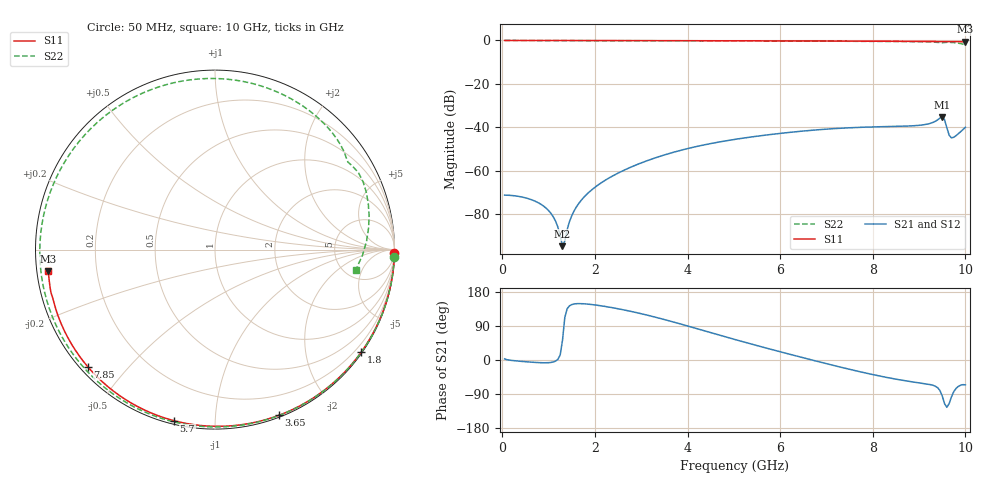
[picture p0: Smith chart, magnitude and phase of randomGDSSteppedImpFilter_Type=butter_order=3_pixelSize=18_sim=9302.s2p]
! freq	dB(S11)	phase(S11)	dB(S12)	phase(S12)
!  dB(S21)	phase(S21)	dB(S22)	phase(S22)
!S-par simulation data
#  GHz  S  DB  R 50
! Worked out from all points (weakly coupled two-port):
!   200 points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, 50 MHz to 10 GHz, reference 50 ohm
!   highest |S21| = -35.19 dB at 9.5 GHz (marker M1); lowest = -94.7 dB at 1.3 GHz (marker M2)
!   lowest |S11| = -0.6 dB at 10 GHz (marker M3), VSWR 30.13, Z = 1.67 - j3.23 ohm
!   |S11| at or under -10 dB: nowhere
!   |S22| runs from -2.0 to 0.0 dB; largest |S21 - S12| = 0
!   S11 on the Smith chart (normalised r, x): 50 MHz: open; 1.8 GHz: 0.03, -3.17; 3.65 GHz: 0.02, -1.46; 5.7 GHz: 0.02, -0.79; 7.85 GHz: 0.02, -0.39; 10 GHz: 0.03, -0.06
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0.05  -0.00 -1.0  -71.19 3.1  -71.19 3.1  -0.00 -2.3
0.6  -0.01 -11.9  -73.07 -5.5  -73.07 -5.5  -0.02 -27.8
1.05  -0.03 -20.6  -79.58 -6.5  -79.58 -6.5  -0.05 -47.7
1.3  -0.03 -25.5  -94.68 52.1  -94.68 52.1  -0.07 -58.4
1.5  -0.04 -29.3  -80.66 146.2  -80.66 146.2  -0.08 -66.6
1.75  -0.04 -34.1  -72.44 148.4  -72.44 148.4  -0.09 -76.6
1.8  -0.04 -35.0  -71.32 148.0  -71.32 148.0  -0.09 -78.6
2.45  -0.06 -47.2  -61.60 136.4  -61.60 136.4  -0.11 -102.6
3.4  -0.09 -64.5  -53.36 110.0  -53.36 110.0  -0.14 -133.9
3.65  -0.09 -68.9  -51.75 101.8  -51.75 101.8  -0.15 -141.5
4.35  -0.12 -81.0  -48.10 77.5  -48.10 77.5  -0.18 -161.8
5.05  -0.14 -92.8  -45.44 53.2  -45.44 53.2  -0.21 178.7
5.7  -0.17 -103.4  -43.53 31.5  -43.53 31.5  -0.25 160.9
6.7  -0.23 -119.4  -41.31 -0.4  -41.31 -0.4  -0.31 132.9
7.85  -0.32 -137.4  -39.89 -34.5  -39.89 -34.5  -0.39 97.8
8.35  -0.37 -145.2  -39.62 -47.2  -39.62 -47.2  -0.45 80.8
9.15  -0.46 -158.0  -38.63 -62.9  -38.63 -62.9  -0.64 49.3
9.5  -0.51 -163.7  -35.19 -94.8  -35.19 -94.8  -1.04 33.4
9.55  -0.50 -164.5  -36.49 -115.3  -36.49 -115.3  -0.96 31.4
9.65  -0.50 -166.3  -43.63 -114.7  -43.63 -114.7  -0.84 24.5
9.7  -0.51 -167.2  -44.85 -96.9  -44.85 -96.9  -0.90 20.7
10  -0.58 -172.6  -39.96 -65.6  -39.96 -65.6  -2.02 -8.3
